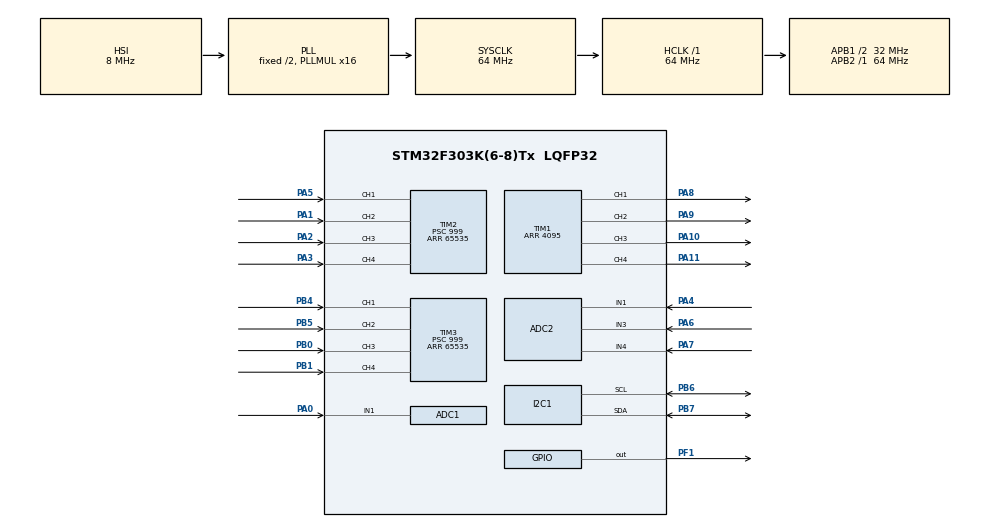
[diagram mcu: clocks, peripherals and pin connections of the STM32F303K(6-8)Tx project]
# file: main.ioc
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ADC1.Channel-122\#ChannelRegularConversion=ADC_CHANNEL_1
ADC1.ClockPrescaler=ADC_CLOCK_ASYNC_DIV1
ADC1.ContinuousConvMode=DISABLE
ADC1.DMAContinuousRequests=DISABLE
ADC1.DataAlign=ADC_DATAALIGN_RIGHT
ADC1.DiscontinuousConvMode=DISABLE
ADC1.EOCSelection=ADC_EOC_SINGLE_CONV
ADC1.EnableAnalogWatchDog1=false
ADC1.EnableAnalogWatchDog2=false
ADC1.EnableAnalogWatchDog3=false
ADC1.EnableInjectedConversion=ENABLE
ADC1.EnableRegularConversion=ENABLE
ADC1.ExternalTrigConv=ADC_SOFTWARE_START
ADC1.ExternalTrigConvEdge=ADC_EXTERNALTRIGCONVEDGE_NONE
ADC1.InjNumberOfConversion=0
ADC1.LowPowerAutoWait=DISABLE
ADC1.NbrOfConversion=1
ADC1.NbrOfConversionFlag=1
ADC1.Offset-122\#ChannelRegularConversion=0
ADC1.OffsetNumber-122\#ChannelRegularConversion=ADC_OFFSET_NONE
ADC1.Overrun=ADC_OVR_DATA_OVERWRITTEN
ADC1.Rank-122\#ChannelRegularConversion=1
ADC1.Resolution=ADC_RESOLUTION_12B
ADC1.SamplingTime-122\#ChannelRegularConversion=ADC_SAMPLETIME_1CYCLE_5
ADC1.ScanConvMode=ADC_SCAN_DISABLE
ADC1.SubFamily=STM32F303x8
ADC1.master=1
ADC2.Channel-84\#ChannelRegularConversion=ADC_CHANNEL_1
ADC2.NbrOfConversionFlag=1
ADC2.Offset-84\#ChannelRegularConversion=0
ADC2.OffsetNumber-84\#ChannelRegularConversion=ADC_OFFSET_NONE
ADC2.Rank-84\#ChannelRegularConversion=1
ADC2.SamplingTime-84\#ChannelRegularConversion=ADC_SAMPLETIME_1CYCLE_5
ADC2.SubFamily=STM32F303x8
Mcu.Family=STM32F3
Mcu.Name=STM32F303K(6-8)Tx
Mcu.Package=LQFP32
NVIC.PriorityGroup=NVIC_PRIORITYGROUP_4
NVIC.TIM1_BRK_TIM15_IRQn=true\:0\:0\:false\:false\:true
NVIC.TIM1_UP_TIM16_IRQn=true\:0\:0\:false\:false\:true
NVIC.TIM2_IRQn=true\:0\:0\:false\:false\:true
NVIC.TIM3_IRQn=true\:0\:0\:false\:false\:true
PA0.Mode=IN1-Single-Ended
PA0.Signal=ADC1_IN1
PA1.GPIO_PuPd=GPIO_PULLDOWN
PA1.GPIO_Speed=GPIO_SPEED_FREQ_HIGH
PA1.Signal=S_TIM2_CH2
PA10.GPIO_PuPd=GPIO_PULLDOWN
PA10.GPIO_Speed=GPIO_SPEED_FREQ_HIGH
PA10.Signal=S_TIM1_CH3
PA11.GPIO_PuPd=GPIO_PULLDOWN
PA11.GPIO_Speed=GPIO_SPEED_FREQ_HIGH
PA11.Signal=S_TIM1_CH4
PA13.GPIO_Label=SWDIO
PA13.Signal=SYS_JTMS-SWDIO
PA14.GPIO_Label=SWCLK
PA14.Signal=SYS_JTCK-SWCLK
PA2.GPIO_PuPd=GPIO_PULLDOWN
PA2.GPIO_Speed=GPIO_SPEED_FREQ_HIGH
PA2.Signal=S_TIM2_CH3
PA3.GPIO_PuPd=GPIO_PULLDOWN
PA3.GPIO_Speed=GPIO_SPEED_FREQ_HIGH
PA3.Signal=S_TIM2_CH4
PA4.Mode=IN1-Single-Ended
PA4.Signal=ADC2_IN1
PA5.GPIO_PuPd=GPIO_PULLDOWN
PA5.GPIO_Speed=GPIO_SPEED_FREQ_HIGH
PA5.Signal=S_TIM2_CH1_ETR
PA6.Mode=IN3-Single-Ended
PA6.Signal=ADC2_IN3
PA7.Mode=IN4-Single-Ended
PA7.Signal=ADC2_IN4
PA8.GPIO_PuPd=GPIO_PULLDOWN
PA8.GPIO_Speed=GPIO_SPEED_FREQ_HIGH
PA8.Signal=S_TIM1_CH1
PA9.GPIO_PuPd=GPIO_PULLDOWN
PA9.GPIO_Speed=GPIO_SPEED_FREQ_HIGH
PA9.Signal=S_TIM1_CH2
PB0.GPIO_PuPd=GPIO_PULLDOWN
PB0.GPIO_Speed=GPIO_SPEED_FREQ_HIGH
PB0.Signal=S_TIM3_CH3
PB1.GPIO_PuPd=GPIO_PULLDOWN
PB1.GPIO_Speed=GPIO_SPEED_FREQ_HIGH
PB1.Signal=S_TIM3_CH4
PB4.GPIO_PuPd=GPIO_PULLDOWN
PB4.GPIO_Speed=GPIO_SPEED_FREQ_HIGH
PB4.Signal=S_TIM3_CH1
PB5.GPIO_PuPd=GPIO_PULLDOWN
PB5.GPIO_Speed=GPIO_SPEED_FREQ_HIGH
PB5.Signal=S_TIM3_CH2
PB6.Mode=I2C
PB6.Signal=I2C1_SCL
PB7.Mode=I2C
PB7.Signal=I2C1_SDA
PF0\ /\ OSC_IN.GPIO_Label=MCO
PF0\ /\ OSC_IN.Signal=RCC_OSC_IN
PF1\ /\ OSC_OUT.GPIO_PuPd=GPIO_PULLDOWN
PF1\ /\ OSC_OUT.GPIO_Speed=GPIO_SPEED_FREQ_HIGH
PF1\ /\ OSC_OUT.Signal=GPIO_Output
ProjectManager.HeapSize=0x200
ProjectManager.StackSize=0x400
ProjectManager.TargetToolchain=MDK-ARM V5
RCC.AHBFreq_Value=64000000
RCC.APB1CLKDivider=RCC_HCLK_DIV2
RCC.APB1Freq_Value=32000000
RCC.APB1TimFreq_Value=64000000
RCC.APB2Freq_Value=64000000
RCC.APB2TimFreq_Value=64000000
RCC.CortexFreq_Value=64000000
RCC.HCLKFreq_Value=64000000
RCC.HSE_VALUE=8000000
RCC.HSI_VALUE=8000000
RCC.PLLMUL=RCC_PLL_MUL16
RCC.SYSCLKFreq_VALUE=64000000
RCC.SYSCLKSourceVirtual=RCC_SYSCLKSOURCE_PLLCLK
RCC.TIM1Selection=RCC_TIM1CLK_PLLCLK
SH.S_TIM1_CH1.0=TIM1_CH1,PWM Generation1 CH1
SH.S_TIM1_CH2.0=TIM1_CH2,PWM Generation2 CH2
SH.S_TIM1_CH3.0=TIM1_CH3,PWM Generation3 CH3
SH.S_TIM1_CH4.0=TIM1_CH4,PWM Generation4 CH4
SH.S_TIM2_CH1_ETR.0=TIM2_CH1,Input_Capture1_from_TI1
SH.S_TIM2_CH2.0=TIM2_CH2,Input_Capture2_from_TI2
SH.S_TIM2_CH3.0=TIM2_CH3,Input_Capture3_from_TI3
SH.S_TIM2_CH4.0=TIM2_CH4,Input_Capture4_from_TI4
SH.S_TIM3_CH1.0=TIM3_CH1,Input_Capture1_from_TI1
SH.S_TIM3_CH2.0=TIM3_CH2,Input_Capture2_from_TI2
SH.S_TIM3_CH3.0=TIM3_CH3,Input_Capture3_from_TI3
SH.S_TIM3_CH4.0=TIM3_CH4,Input_Capture4_from_TI4
TIM1.Channel-PWM\ Generation2\ CH2=TIM_CHANNEL_2
TIM1.Channel-PWM\ Generation3\ CH3=TIM_CHANNEL_3
TIM1.Channel-PWM\ Generation4\ CH4=TIM_CHANNEL_4
TIM1.OCFastMode_PWM-PWM\ Generation1\ CH1=TIM_OCFAST_ENABLE
TIM1.OCFastMode_PWM-PWM\ Generation2\ CH2=TIM_OCFAST_ENABLE
TIM1.OCFastMode_PWM-PWM\ Generation3\ CH3=TIM_OCFAST_ENABLE
TIM1.OCFastMode_PWM-PWM\ Generation4\ CH4=TIM_OCFAST_ENABLE
TIM1.Period=4095
TIM15.Period=19
TIM15.Prescaler=15999
TIM2.Channel-Input_Capture2_from_TI2=TIM_CHANNEL_2
TIM2.Channel-Input_Capture3_from_TI3=TIM_CHANNEL_3
TIM2.Channel-Input_Capture4_from_TI4=TIM_CHANNEL_4
TIM2.ICFilter_CH1=2
TIM2.ICFilter_CH2=2
TIM2.ICFilter_CH3=2
TIM2.ICFilter_CH4=2
TIM2.Period=65535
TIM2.Prescaler=999
TIM3.Channel-Input_Capture2_from_TI2=TIM_CHANNEL_2
TIM3.Channel-Input_Capture3_from_TI3=TIM_CHANNEL_3
TIM3.Channel-Input_Capture4_from_TI4=TIM_CHANNEL_4
TIM3.ICFilter_CH1=2
TIM3.ICFilter_CH2=2
TIM3.ICFilter_CH3=2
TIM3.ICFilter_CH4=2
TIM3.Period=65535
TIM3.Prescaler=999
VP_TIM15_VS_ClockSourceINT.Mode=Internal
VP_TIM1_VS_ClockSourceINT.Mode=Internal
VP_TIM2_VS_ClockSourceINT.Mode=Internal
VP_TIM3_VS_ClockSourceINT.Mode=Internal
board=NUCLEO-F303K8

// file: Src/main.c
/**
  ******************************************************************************
  * File Name          : main.c
  * Description        : Main program body
  ******************************************************************************
  *
  * COPYRIGHT(c) 2017 STMicroelectronics
  *
  * Redistribution and use in source and binary forms, with or without modification,
  * are permitted provided that the following conditions are met:
  *   1. Redistributions of source code must retain the above copyright notice,
  *      this list of conditions and the following disclaimer.
  *   2. Redistributions in binary form must reproduce the above copyright notice,
  *      this list of conditions and the following disclaimer in the documentation
  *      and/or other materials provided with the distribution.
  *   3. Neither the name of STMicroelectronics nor the names of its contributors
  *      may be used to endorse or promote products derived from this software
  *      without specific prior written permission.
  *
  * THIS SOFTWARE IS PROVIDED BY THE COPYRIGHT HOLDERS AND CONTRIBUTORS "AS IS"
  * AND ANY EXPRESS OR IMPLIED WARRANTIES, INCLUDING, BUT NOT LIMITED TO, THE
  * IMPLIED WARRANTIES OF MERCHANTABILITY AND FITNESS FOR A PARTICULAR PURPOSE ARE
  * DISCLAIMED. IN NO EVENT SHALL THE COPYRIGHT HOLDER OR CONTRIBUTORS BE LIABLE
  * FOR ANY DIRECT, INDIRECT, INCIDENTAL, SPECIAL, EXEMPLARY, OR CONSEQUENTIAL
  * DAMAGES (INCLUDING, BUT NOT LIMITED TO, PROCUREMENT OF SUBSTITUTE GOODS OR
  * SERVICES; LOSS OF USE, DATA, OR PROFITS; OR BUSINESS INTERRUPTION) HOWEVER
  * CAUSED AND ON ANY THEORY OF LIABILITY, WHETHER IN CONTRACT, STRICT LIABILITY,
  * OR TORT (INCLUDING NEGLIGENCE OR OTHERWISE) ARISING IN ANY WAY OUT OF THE USE
  * OF THIS SOFTWARE, EVEN IF ADVISED OF THE POSSIBILITY OF SUCH DAMAGE.
  *
  ******************************************************************************
  */
#include "main.h"
#include "stm32f3xx_hal.h"

ADC_HandleTypeDef hadc1;
ADC_HandleTypeDef hadc2;

I2C_HandleTypeDef hi2c1;

TIM_HandleTypeDef htim1;
TIM_HandleTypeDef htim2;
TIM_HandleTypeDef htim3;
TIM_HandleTypeDef htim15;

/* USER CODE BEGIN PV */
/* Private variables ---------------------------------------------------------*/
volatile uint16_t prev_capture_TIM2_CH1 = 0;
volatile uint16_t prev_capture_TIM2_CH2 = 0;
volatile uint16_t prev_capture_TIM2_CH3 = 0;
volatile uint16_t prev_capture_TIM2_CH4 = 0;
volatile uint16_t delta_clk_TIM2_CH1 = 0;
volatile uint16_t delta_clk_TIM2_CH2 = 0;
volatile uint16_t delta_clk_TIM2_CH3 = 0;
volatile uint16_t delta_clk_TIM2_CH4 = 0;

volatile uint16_t prev_capture_TIM3_CH1 = 0;
volatile uint16_t prev_capture_TIM3_CH2 = 0;
volatile uint16_t prev_capture_TIM3_CH3 = 0;
volatile uint16_t prev_capture_TIM3_CH4 = 0;
volatile uint16_t delta_clk_TIM3_CH1 = 0;
volatile uint16_t delta_clk_TIM3_CH2 = 0;
volatile uint16_t delta_clk_TIM3_CH3 = 0;
volatile uint16_t delta_clk_TIM3_CH4 = 0;

volatile int16_t encoder_count_CH1 = 0;
volatile int16_t encoder_count_CH2 = 0;
volatile int16_t encoder_count_CH3 = 0;
volatile int16_t encoder_count_CH4 = 0;

volatile int16_t prev_encoder_count_CH1 = 0;
volatile int16_t prev_encoder_count_CH2 = 0;
volatile int16_t prev_encoder_count_CH3 = 0;
volatile int16_t prev_encoder_count_CH4 = 0;

volatile float RPM_CH1 = 0.0f;
volatile float RPM_CH2 = 0.0f;
volatile float RPM_CH3 = 0.0f;
volatile float RPM_CH4 = 0.0f;

volatile uint8_t timeout_CH1 = 0;
volatile uint8_t timeout_CH2 = 0;
volatile uint8_t timeout_CH3 = 0;
volatile uint8_t timeout_CH4 = 0;

/* USER CODE END PV */

void SystemClock_Config(void);
void Error_Handler(void);
static void MX_GPIO_Init(void);
static void MX_TIM1_Init(void);
static void MX_TIM3_Init(void);
static void MX_TIM2_Init(void);
static void MX_ADC1_Init(void);
static void MX_ADC2_Init(void);
static void MX_I2C1_Init(void);
static void MX_TIM15_Init(void);

void HAL_TIM_MspPostInit(TIM_HandleTypeDef *htim);

/* USER CODE BEGIN PFP */
/* Private function prototypes -----------------------------------------------*/

/* USER CODE END PFP */

int main(void)
{

  /* MCU Configuration----------------------------------------------------------*/

  /* Reset of all peripherals, Initializes the Flash interface and the Systick. */
  HAL_Init();

  /* Configure the system clock */
  SystemClock_Config();

  /* Initialize all configured peripherals */
  MX_GPIO_Init();
  MX_TIM1_Init();
  MX_TIM3_Init();
  MX_TIM2_Init();
  MX_ADC1_Init();
  MX_ADC2_Init();
  MX_I2C1_Init();
  MX_TIM15_Init();

  /* USER CODE BEGIN 2 */

	HAL_TIM_PWM_Start_IT(&htim1, TIM_CHANNEL_1);
	__HAL_TIM_SET_COMPARE(&htim1, TIM_CHANNEL_1, 512);

	HAL_TIM_PWM_Start_IT(&htim1, TIM_CHANNEL_2);
	__HAL_TIM_SET_COMPARE(&htim1, TIM_CHANNEL_2, 1024);

	HAL_TIM_PWM_Start_IT(&htim1, TIM_CHANNEL_3);
	__HAL_TIM_SET_COMPARE(&htim1, TIM_CHANNEL_3, 2000);

	HAL_TIM_PWM_Start_IT(&htim1, TIM_CHANNEL_4);
	__HAL_TIM_SET_COMPARE(&htim1, TIM_CHANNEL_4, 3000);

	HAL_TIM_IC_Start_IT(&htim2, TIM_CHANNEL_1);
	HAL_TIM_IC_Start_IT(&htim2, TIM_CHANNEL_2);
	HAL_TIM_IC_Start_IT(&htim2, TIM_CHANNEL_3);
	HAL_TIM_IC_Start_IT(&htim2, TIM_CHANNEL_4);

	HAL_TIM_IC_Start_IT(&htim3, TIM_CHANNEL_1);
	HAL_TIM_IC_Start_IT(&htim3, TIM_CHANNEL_2);
	HAL_TIM_IC_Start_IT(&htim3, TIM_CHANNEL_3);
	HAL_TIM_IC_Start_IT(&htim3, TIM_CHANNEL_4);

	HAL_TIM_Base_Start_IT(&htim15);

  /* USER CODE END 2 */

  /* Infinite loop */
  while (1)
  {

  /* USER CODE BEGIN 3 */
		//PWM[0] = 1024;
		//HAL_GPIO_TogglePin(GPIOF, GPIO_PIN_1);
		GPIOF->BSRR = GPIO_BSRR_BS_1;
		GPIOF->BSRR = GPIO_BSRR_BR_1;
  }
  /* USER CODE END 3 */

}

/** System Clock Configuration
*/
void SystemClock_Config(void)
{

  RCC_OscInitTypeDef RCC_OscInitStruct;
  RCC_ClkInitTypeDef RCC_ClkInitStruct;
  RCC_PeriphCLKInitTypeDef PeriphClkInit;

    /**Initializes the CPU, AHB and APB busses clocks
    */
  RCC_OscInitStruct.OscillatorType = RCC_OSCILLATORTYPE_HSI;
  RCC_OscInitStruct.HSIState = RCC_HSI_ON;
  RCC_OscInitStruct.HSICalibrationValue = 16;
  RCC_OscInitStruct.PLL.PLLState = RCC_PLL_ON;
  RCC_OscInitStruct.PLL.PLLSource = RCC_PLLSOURCE_HSI;
  RCC_OscInitStruct.PLL.PLLMUL = RCC_PLL_MUL16;
  if (HAL_RCC_OscConfig(&RCC_OscInitStruct) != HAL_OK)
  {
    Error_Handler();
  }

    /**Initializes the CPU, AHB and APB busses clocks
    */
  RCC_ClkInitStruct.ClockType = RCC_CLOCKTYPE_HCLK|RCC_CLOCKTYPE_SYSCLK
                              |RCC_CLOCKTYPE_PCLK1|RCC_CLOCKTYPE_PCLK2;
  RCC_ClkInitStruct.SYSCLKSource = RCC_SYSCLKSOURCE_PLLCLK;
  RCC_ClkInitStruct.AHBCLKDivider = RCC_SYSCLK_DIV1;
  RCC_ClkInitStruct.APB1CLKDivider = RCC_HCLK_DIV2;
  RCC_ClkInitStruct.APB2CLKDivider = RCC_HCLK_DIV1;

  if (HAL_RCC_ClockConfig(&RCC_ClkInitStruct, FLASH_LATENCY_2) != HAL_OK)
  {
    Error_Handler();
  }

  PeriphClkInit.PeriphClockSelection = RCC_PERIPHCLK_I2C1|RCC_PERIPHCLK_TIM1
                              |RCC_PERIPHCLK_ADC12;
  PeriphClkInit.Adc12ClockSelection = RCC_ADC12PLLCLK_DIV1;
  PeriphClkInit.I2c1ClockSelection = RCC_I2C1CLKSOURCE_HSI;
  PeriphClkInit.Tim1ClockSelection = RCC_TIM1CLK_PLLCLK;
  if (HAL_RCCEx_PeriphCLKConfig(&PeriphClkInit) != HAL_OK)
  {
    Error_Handler();
  }

    /**Configure the Systick interrupt time
    */
  HAL_SYSTICK_Config(HAL_RCC_GetHCLKFreq()/1000);

    /**Configure the Systick
    */
  HAL_SYSTICK_CLKSourceConfig(SYSTICK_CLKSOURCE_HCLK);

  /* SysTick_IRQn interrupt configuration */
  HAL_NVIC_SetPriority(SysTick_IRQn, 0, 0);
}

/* ADC1 init function */
static void MX_ADC1_Init(void)
{

  ADC_MultiModeTypeDef multimode;
  ADC_ChannelConfTypeDef sConfig;

    /**Common config
    */
  hadc1.Instance = ADC1;
  hadc1.Init.ClockPrescaler = ADC_CLOCK_ASYNC_DIV1;
  hadc1.Init.Resolution = ADC_RESOLUTION_12B;
  hadc1.Init.ScanConvMode = ADC_SCAN_DISABLE;
  hadc1.Init.ContinuousConvMode = DISABLE;
  hadc1.Init.DiscontinuousConvMode = DISABLE;
  hadc1.Init.ExternalTrigConvEdge = ADC_EXTERNALTRIGCONVEDGE_NONE;
  hadc1.Init.ExternalTrigConv = ADC_SOFTWARE_START;
  hadc1.Init.DataAlign = ADC_DATAALIGN_RIGHT;
  hadc1.Init.NbrOfConversion = 1;
  hadc1.Init.DMAContinuousRequests = DISABLE;
  hadc1.Init.EOCSelection = ADC_EOC_SINGLE_CONV;
  hadc1.Init.LowPowerAutoWait = DISABLE;
  hadc1.Init.Overrun = ADC_OVR_DATA_OVERWRITTEN;
  if (HAL_ADC_Init(&hadc1) != HAL_OK)
  {
    Error_Handler();
  }

    /**Configure the ADC multi-mode
    */
  multimode.Mode = ADC_MODE_INDEPENDENT;
  if (HAL_ADCEx_MultiModeConfigChannel(&hadc1, &multimode) != HAL_OK)
  {
    Error_Handler();
  }

    /**Configure Regular Channel
    */
  sConfig.Channel = ADC_CHANNEL_1;
  sConfig.Rank = 1;
  sConfig.SingleDiff = ADC_SINGLE_ENDED;
  sConfig.SamplingTime = ADC_SAMPLETIME_1CYCLE_5;
  sConfig.OffsetNumber = ADC_OFFSET_NONE;
  sConfig.Offset = 0;
  if (HAL_ADC_ConfigChannel(&hadc1, &sConfig) != HAL_OK)
  {
    Error_Handler();
  }

}

/* ADC2 init function */
static void MX_ADC2_Init(void)
{

  ADC_ChannelConfTypeDef sConfig;

    /**Common config
    */
  hadc2.Instance = ADC2;
  hadc2.Init.ClockPrescaler = ADC_CLOCK_ASYNC_DIV1;
  hadc2.Init.Resolution = ADC_RESOLUTION_12B;
  hadc2.Init.ScanConvMode = ADC_SCAN_DISABLE;
  hadc2.Init.ContinuousConvMode = DISABLE;
  hadc2.Init.DiscontinuousConvMode = DISABLE;
  hadc2.Init.DataAlign = ADC_DATAALIGN_RIGHT;
  hadc2.Init.NbrOfConversion = 1;
  hadc2.Init.DMAContinuousRequests = DISABLE;
  hadc2.Init.EOCSelection = ADC_EOC_SINGLE_CONV;
  hadc2.Init.LowPowerAutoWait = DISABLE;
  hadc2.Init.Overrun = ADC_OVR_DATA_OVERWRITTEN;
  if (HAL_ADC_Init(&hadc2) != HAL_OK)
  {
    Error_Handler();
  }

    /**Configure Regular Channel
    */
  sConfig.Channel = ADC_CHANNEL_1;
  sConfig.Rank = 1;
  sConfig.SingleDiff = ADC_SINGLE_ENDED;
  sConfig.SamplingTime = ADC_SAMPLETIME_1CYCLE_5;
  sConfig.OffsetNumber = ADC_OFFSET_NONE;
  sConfig.Offset = 0;
  if (HAL_ADC_ConfigChannel(&hadc2, &sConfig) != HAL_OK)
  {
    Error_Handler();
  }

}

/* I2C1 init function */
static void MX_I2C1_Init(void)
{

  hi2c1.Instance = I2C1;
  hi2c1.Init.Timing = 0x2000090E;
  hi2c1.Init.OwnAddress1 = 0;
  hi2c1.Init.AddressingMode = I2C_ADDRESSINGMODE_7BIT;
  hi2c1.Init.DualAddressMode = I2C_DUALADDRESS_DISABLE;
  hi2c1.Init.OwnAddress2 = 0;
  hi2c1.Init.OwnAddress2Masks = I2C_OA2_NOMASK;
  hi2c1.Init.GeneralCallMode = I2C_GENERALCALL_DISABLE;
  hi2c1.Init.NoStretchMode = I2C_NOSTRETCH_DISABLE;
  if (HAL_I2C_Init(&hi2c1) != HAL_OK)
  {
    Error_Handler();
  }

    /**Configure Analogue filter
    */
  if (HAL_I2CEx_ConfigAnalogFilter(&hi2c1, I2C_ANALOGFILTER_ENABLE) != HAL_OK)
  {
    Error_Handler();
  }

}

/* TIM1 init function */
static void MX_TIM1_Init(void)
{

  TIM_ClockConfigTypeDef sClockSourceConfig;
  TIM_MasterConfigTypeDef sMasterConfig;
  TIM_OC_InitTypeDef sConfigOC;
  TIM_BreakDeadTimeConfigTypeDef sBreakDeadTimeConfig;

  htim1.Instance = TIM1;
  htim1.Init.Prescaler = 0;
  htim1.Init.CounterMode = TIM_COUNTERMODE_UP;
  htim1.Init.Period = 4095;
  htim1.Init.ClockDivision = TIM_CLOCKDIVISION_DIV1;
  htim1.Init.RepetitionCounter = 0;
  htim1.Init.AutoReloadPreload = TIM_AUTORELOAD_PRELOAD_DISABLE;
  if (HAL_TIM_Base_Init(&htim1) != HAL_OK)
  {
    Error_Handler();
  }

  sClockSourceConfig.ClockSource = TIM_CLOCKSOURCE_INTERNAL;
  if (HAL_TIM_ConfigClockSource(&htim1, &sClockSourceConfig) != HAL_OK)
  {
    Error_Handler();
  }

  if (HAL_TIM_PWM_Init(&htim1) != HAL_OK)
  {
    Error_Handler();
  }

  sMasterConfig.MasterOutputTrigger = TIM_TRGO_RESET;
  sMasterConfig.MasterOutputTrigger2 = TIM_TRGO2_RESET;
  sMasterConfig.MasterSlaveMode = TIM_MASTERSLAVEMODE_DISABLE;
  if (HAL_TIMEx_MasterConfigSynchronization(&htim1, &sMasterConfig) != HAL_OK)
  {
    Error_Handler();
  }

  sConfigOC.OCMode = TIM_OCMODE_PWM1;
  sConfigOC.Pulse = 0;
  sConfigOC.OCPolarity = TIM_OCPOLARITY_HIGH;
  sConfigOC.OCNPolarity = TIM_OCNPOLARITY_HIGH;
  sConfigOC.OCFastMode = TIM_OCFAST_ENABLE;
  sConfigOC.OCIdleState = TIM_OCIDLESTATE_RESET;
  sConfigOC.OCNIdleState = TIM_OCNIDLESTATE_RESET;
  if (HAL_TIM_PWM_ConfigChannel(&htim1, &sConfigOC, TIM_CHANNEL_1) != HAL_OK)
  {
    Error_Handler();
  }

  if (HAL_TIM_PWM_ConfigChannel(&htim1, &sConfigOC, TIM_CHANNEL_2) != HAL_OK)
  {
    Error_Handler();
  }

  if (HAL_TIM_PWM_ConfigChannel(&htim1, &sConfigOC, TIM_CHANNEL_3) != HAL_OK)
  {
    Error_Handler();
  }

  if (HAL_TIM_PWM_ConfigChannel(&htim1, &sConfigOC, TIM_CHANNEL_4) != HAL_OK)
  {
    Error_Handler();
  }

  sBreakDeadTimeConfig.OffStateRunMode = TIM_OSSR_DISABLE;
  sBreakDeadTimeConfig.OffStateIDLEMode = TIM_OSSI_DISABLE;
  sBreakDeadTimeConfig.LockLevel = TIM_LOCKLEVEL_OFF;
  sBreakDeadTimeConfig.DeadTime = 0;
  sBreakDeadTimeConfig.BreakState = TIM_BREAK_DISABLE;
  sBreakDeadTimeConfig.BreakPolarity = TIM_BREAKPOLARITY_HIGH;
  sBreakDeadTimeConfig.BreakFilter = 0;
  sBreakDeadTimeConfig.Break2State = TIM_BREAK2_DISABLE;
  sBreakDeadTimeConfig.Break2Polarity = TIM_BREAK2POLARITY_HIGH;
  sBreakDeadTimeConfig.Break2Filter = 0;
  sBreakDeadTimeConfig.AutomaticOutput = TIM_AUTOMATICOUTPUT_DISABLE;
  if (HAL_TIMEx_ConfigBreakDeadTime(&htim1, &sBreakDeadTimeConfig) != HAL_OK)
  {
    Error_Handler();
  }

  HAL_TIM_MspPostInit(&htim1);

}

/* TIM2 init function */
static void MX_TIM2_Init(void)
{

  TIM_ClockConfigTypeDef sClockSourceConfig;
  TIM_MasterConfigTypeDef sMasterConfig;
  TIM_IC_InitTypeDef sConfigIC;

  htim2.Instance = TIM2;
  htim2.Init.Prescaler = 999;
  htim2.Init.CounterMode = TIM_COUNTERMODE_UP;
  htim2.Init.Period = 65535;
  htim2.Init.ClockDivision = TIM_CLOCKDIVISION_DIV1;
  htim2.Init.AutoReloadPreload = TIM_AUTORELOAD_PRELOAD_DISABLE;
  if (HAL_TIM_Base_Init(&htim2) != HAL_OK)
  {
    Error_Handler();
  }

  sClockSourceConfig.ClockSource = TIM_CLOCKSOURCE_INTERNAL;
  if (HAL_TIM_ConfigClockSource(&htim2, &sClockSourceConfig) != HAL_OK)
  {
    Error_Handler();
  }

  if (HAL_TIM_IC_Init(&htim2) != HAL_OK)
  {
    Error_Handler();
  }

  sMasterConfig.MasterOutputTrigger = TIM_TRGO_RESET;
  sMasterConfig.MasterSlaveMode = TIM_MASTERSLAVEMODE_DISABLE;
  if (HAL_TIMEx_MasterConfigSynchronization(&htim2, &sMasterConfig) != HAL_OK)
  {
    Error_Handler();
  }

  sConfigIC.ICPolarity = TIM_INPUTCHANNELPOLARITY_RISING;
  sConfigIC.ICSelection = TIM_ICSELECTION_DIRECTTI;
  sConfigIC.ICPrescaler = TIM_ICPSC_DIV1;
  sConfigIC.ICFilter = 2;
  if (HAL_TIM_IC_ConfigChannel(&htim2, &sConfigIC, TIM_CHANNEL_1) != HAL_OK)
  {
    Error_Handler();
  }

  if (HAL_TIM_IC_ConfigChannel(&htim2, &sConfigIC, TIM_CHANNEL_2) != HAL_OK)
  {
    Error_Handler();
  }

  if (HAL_TIM_IC_ConfigChannel(&htim2, &sConfigIC, TIM_CHANNEL_3) != HAL_OK)
  {
    Error_Handler();
  }

  if (HAL_TIM_IC_ConfigChannel(&htim2, &sConfigIC, TIM_CHANNEL_4) != HAL_OK)
  {
    Error_Handler();
  }

}

/* TIM3 init function */
static void MX_TIM3_Init(void)
{

  TIM_ClockConfigTypeDef sClockSourceConfig;
  TIM_MasterConfigTypeDef sMasterConfig;
  TIM_IC_InitTypeDef sConfigIC;

  htim3.Instance = TIM3;
  htim3.Init.Prescaler = 999;
  htim3.Init.CounterMode = TIM_COUNTERMODE_UP;
  htim3.Init.Period = 65535;
  htim3.Init.ClockDivision = TIM_CLOCKDIVISION_DIV1;
  htim3.Init.AutoReloadPreload = TIM_AUTORELOAD_PRELOAD_DISABLE;
  if (HAL_TIM_Base_Init(&htim3) != HAL_OK)
  {
    Error_Handler();
  }

  sClockSourceConfig.ClockSource = TIM_CLOCKSOURCE_INTERNAL;
  if (HAL_TIM_ConfigClockSource(&htim3, &sClockSourceConfig) != HAL_OK)
  {
    Error_Handler();
  }

  if (HAL_TIM_IC_Init(&htim3) != HAL_OK)
  {
    Error_Handler();
  }

  sMasterConfig.MasterOutputTrigger = TIM_TRGO_RESET;
  sMasterConfig.MasterSlaveMode = TIM_MASTERSLAVEMODE_DISABLE;
  if (HAL_TIMEx_MasterConfigSynchronization(&htim3, &sMasterConfig) != HAL_OK)
  {
    Error_Handler();
  }

  sConfigIC.ICPolarity = TIM_INPUTCHANNELPOLARITY_RISING;
  sConfigIC.ICSelection = TIM_ICSELECTION_DIRECTTI;
  sConfigIC.ICPrescaler = TIM_ICPSC_DIV1;
  sConfigIC.ICFilter = 2;
  if (HAL_TIM_IC_ConfigChannel(&htim3, &sConfigIC, TIM_CHANNEL_1) != HAL_OK)
  {
    Error_Handler();
  }

  if (HAL_TIM_IC_ConfigChannel(&htim3, &sConfigIC, TIM_CHANNEL_2) != HAL_OK)
  {
    Error_Handler();
  }

  if (HAL_TIM_IC_ConfigChannel(&htim3, &sConfigIC, TIM_CHANNEL_3) != HAL_OK)
  {
    Error_Handler();
  }

  if (HAL_TIM_IC_ConfigChannel(&htim3, &sConfigIC, TIM_CHANNEL_4) != HAL_OK)
  {
    Error_Handler();
  }

}

/* TIM15 init function */
static void MX_TIM15_Init(void)
{

  TIM_ClockConfigTypeDef sClockSourceConfig;
  TIM_MasterConfigTypeDef sMasterConfig;

  htim15.Instance = TIM15;
  htim15.Init.Prescaler = 15999;
  htim15.Init.CounterMode = TIM_COUNTERMODE_UP;
  htim15.Init.Period = 19;
  htim15.Init.ClockDivision = TIM_CLOCKDIVISION_DIV1;
  htim15.Init.RepetitionCounter = 0;
  htim15.Init.AutoReloadPreload = TIM_AUTORELOAD_PRELOAD_DISABLE;
  if (HAL_TIM_Base_Init(&htim15) != HAL_OK)
  {
    Error_Handler();
  }

  sClockSourceConfig.ClockSource = TIM_CLOCKSOURCE_INTERNAL;
  if (HAL_TIM_ConfigClockSource(&htim15, &sClockSourceConfig) != HAL_OK)
  {
    Error_Handler();
  }

  sMasterConfig.MasterOutputTrigger = TIM_TRGO_RESET;
  sMasterConfig.MasterSlaveMode = TIM_MASTERSLAVEMODE_DISABLE;
  if (HAL_TIMEx_MasterConfigSynchronization(&htim15, &sMasterConfig) != HAL_OK)
  {
    Error_Handler();
  }

}

/** Configure pins as
        * Analog
        * Input
        * Output
        * EVENT_OUT
        * EXTI
*/
static void MX_GPIO_Init(void)
{

  GPIO_InitTypeDef GPIO_InitStruct;

  /* GPIO Ports Clock Enable */
  __HAL_RCC_GPIOF_CLK_ENABLE();
  __HAL_RCC_GPIOA_CLK_ENABLE();
  __HAL_RCC_GPIOB_CLK_ENABLE();

  /*Configure GPIO pin Output Level */
  HAL_GPIO_WritePin(GPIOF, GPIO_PIN_1, GPIO_PIN_RESET);

  /*Configure GPIO pin : PF1 */
  GPIO_InitStruct.Pin = GPIO_PIN_1;
  GPIO_InitStruct.Mode = GPIO_MODE_OUTPUT_PP;
  GPIO_InitStruct.Pull = GPIO_NOPULL;
  GPIO_InitStruct.Speed = GPIO_SPEED_FREQ_LOW;
  HAL_GPIO_Init(GPIOF, &GPIO_InitStruct);

}

/* USER CODE BEGIN 4 */
void HAL_TIM_IC_CaptureCallback(TIM_HandleTypeDef *htim){
	if(htim->Instance == TIM2){
		//Timer 2 - Channel 1
		if (htim->Channel == HAL_TIM_ACTIVE_CHANNEL_1){
			encoder_count_CH1++;

			uint16_t input_capture_TIM2_CH1 = HAL_TIM_ReadCapturedValue(&htim2, TIM_CHANNEL_1);	//read TIM2 channel 1 capture value
			delta_clk_TIM2_CH1 = input_capture_TIM2_CH1 - prev_capture_TIM2_CH1;
			prev_capture_TIM2_CH1 = input_capture_TIM2_CH1;
		}

		//Timer 2 - Channel 2
		else if (htim->Channel == HAL_TIM_ACTIVE_CHANNEL_2){
			encoder_count_CH2++;

			uint16_t input_capture_TIM2_CH2 = HAL_TIM_ReadCapturedValue(&htim2, TIM_CHANNEL_2);	//read TIM2 channel 2 capture value
			delta_clk_TIM2_CH2 = input_capture_TIM2_CH2 - prev_capture_TIM2_CH2;
			prev_capture_TIM2_CH2 = input_capture_TIM2_CH2;
		}

		//Timer 2 - Channel 3
		else if(htim->Channel == HAL_TIM_ACTIVE_CHANNEL_3){
			encoder_count_CH3++;

			uint16_t input_capture_TIM2_CH3 = HAL_TIM_ReadCapturedValue(&htim2, TIM_CHANNEL_3);	//read TIM2 channel 3 capture value
			delta_clk_TIM2_CH3 = input_capture_TIM2_CH3 - prev_capture_TIM2_CH3;
			prev_capture_TIM2_CH3 = input_capture_TIM2_CH3;
		}

		//Timer 2 - Channel 4
		else if(htim->Channel == HAL_TIM_ACTIVE_CHANNEL_4){
			encoder_count_CH4++;

			uint16_t input_capture_TIM2_CH4 = HAL_TIM_ReadCapturedValue(&htim2, TIM_CHANNEL_4);	//read TIM2 channel 4 capture value
			delta_clk_TIM2_CH4 = input_capture_TIM2_CH4 - prev_capture_TIM2_CH4;
			prev_capture_TIM2_CH4 = input_capture_TIM2_CH4;
		}
	}

	else if(htim->Instance == TIM3){
		//Timer 3 - Channel 1
		if(htim->Channel == HAL_TIM_ACTIVE_CHANNEL_1){
			encoder_count_CH1--;

			uint16_t input_capture_TIM3_CH1 = HAL_TIM_ReadCapturedValue(&htim3, TIM_CHANNEL_1);	//read TIM3 channel 1 capture value
			delta_clk_TIM3_CH1 = input_capture_TIM3_CH1 - prev_capture_TIM3_CH1;
			prev_capture_TIM3_CH1 = input_capture_TIM3_CH1;
		}

		//Timer 3 - Channel 2
		else if(htim->Channel == HAL_TIM_ACTIVE_CHANNEL_2){
			encoder_count_CH2--;

			uint16_t input_capture_TIM3_CH2 = HAL_TIM_ReadCapturedValue(&htim3, TIM_CHANNEL_2);	//read TIM3 channel 2 capture value
			delta_clk_TIM3_CH2 = input_capture_TIM3_CH2 - prev_capture_TIM3_CH2;
			prev_capture_TIM3_CH2 = input_capture_TIM3_CH2;
		}

		//Timer 3 - Channel 3
		else if(htim->Channel == HAL_TIM_ACTIVE_CHANNEL_3){
			encoder_count_CH3--;

			uint16_t input_capture_TIM3_CH3 = HAL_TIM_ReadCapturedValue(&htim3, TIM_CHANNEL_3);	//read TIM3 channel 3 capture value
			delta_clk_TIM3_CH3 = input_capture_TIM3_CH3 - prev_capture_TIM3_CH3;
			prev_capture_TIM3_CH3 = input_capture_TIM3_CH3;
		}

		//Timer 3 - Channel 4
		else if(htim->Channel == HAL_TIM_ACTIVE_CHANNEL_4){
			encoder_count_CH4--;

			uint16_t input_capture_TIM3_CH4 = HAL_TIM_ReadCapturedValue(&htim3, TIM_CHANNEL_4);	//read TIM3 channel 3 capture value
			delta_clk_TIM3_CH4 = input_capture_TIM3_CH4 - prev_capture_TIM3_CH4;
			prev_capture_TIM3_CH4 = input_capture_TIM3_CH4;
		}
	}
}

void HAL_TIM_PeriodElapsedCallback(TIM_HandleTypeDef *htim)
{
	if(htim->Instance == TIM15)
	{
		//---------------------------------
		//	Channel 1 RPM
		//---------------------------------

		//Timeout for CH1
		//Checks Encoder Count
		//if there is not change in encoder count in a 1 sec interval, sets RPM to zero
		//timeout = 1/(64Mhz / 16000 Prescaler / 20 Counter Period)
		//timeout = 0.005sec (200Hz)
		int16_t delta_encoder_CH1 = encoder_count_CH1 - prev_encoder_count_CH1;
		if(delta_encoder_CH1 == 0){
			timeout_CH1++;
			if(timeout_CH1 == 200){
				delta_clk_TIM2_CH1 = 0;
				delta_clk_TIM3_CH1 = 0;
				timeout_CH1 = 0;
			}
		}
		else
			timeout_CH1 = 0;
		prev_encoder_count_CH1 = encoder_count_CH1;

		//Max velocity for Delta Time
		//Count Limit(timer count) = 64Mhz / 1000Prescale / 200Hz (Velocity calculation loop)
		//320 = 64Mhz / 1000 / 200Hz
		//Timer 2 - Channel 1
		if(delta_clk_TIM2_CH1 >= 320){
			//RPM = 60Sec / ( 64Enc * Delta_time)
			//Delta_time(seconds) = delta_count / (64Mhz / 1000Prescale)
			RPM_CH1 = 60000.0f/(float)delta_clk_TIM2_CH1;
		}
		//Timer 3 - Channel 1
		else if(delta_clk_TIM3_CH1 >= 320){
			//RPM = 60Sec / ( 64Enc * Delta_time)
			//Delta_time(seconds) = delta_count / (64Mhz / 1000Prescale)
			RPM_CH1 = -60000.0f/(float)delta_clk_TIM3_CH1;
		}
		else if((delta_clk_TIM2_CH1 < 320) || (delta_clk_TIM3_CH1 < 320))
			RPM_CH1 = 187.5f*((float)delta_encoder_CH1);

		//---------------------------------
		//	Channel 2 RPM
		//---------------------------------

		//Timeout for CH2
		//Checks Encoder Count
		//if there is not change in encoder count in a 1 sec interval, sets RPM to zero
		//timeout = 1/(64Mhz / 16000 Prescaler / 20 Counter Period)
		//timeout = 0.005sec (200Hz)
		int16_t delta_encoder_CH2 = encoder_count_CH2 - prev_encoder_count_CH2;
		if(delta_encoder_CH2 == 0){
			timeout_CH2++;
			if(timeout_CH2 == 200){
				delta_clk_TIM2_CH2 = 0;
				delta_clk_TIM3_CH2 = 0;
				timeout_CH2 = 0;
			}
		}
		else
			timeout_CH2 = 0;
		prev_encoder_count_CH2 = encoder_count_CH2;

		//Max velocity for Delta Time
		//Count Limit(timer count) = 64Mhz / 1000Prescale / 200Hz (Velocity calculation loop)
		//320 = 64Mhz / 1000 / 200Hz
		//Timer 2 - Channel 2
		if(delta_clk_TIM2_CH2 >= 320){
			//RPM = 60Sec / ( 64Enc * Delta_time)
			//Delta_time(seconds) = delta_count / (64Mhz / 1000Prescale)
			RPM_CH2 = 60000.0f/(float)delta_clk_TIM2_CH2;
		}
		//Timer 3 - Channes 3
		else if(delta_clk_TIM3_CH2 >= 320){
			//RPM = 60Sec / ( 64Enc * Delta_time)
			//Delta_time(seconds) = delta_count / (64Mhz / 1000Prescale)
			RPM_CH2 = -60000.0f/(float)delta_clk_TIM3_CH2;
		}
		else if((delta_clk_TIM2_CH2 < 320) || (delta_clk_TIM3_CH2 < 320))
			RPM_CH2 = 187.5f*((float)delta_encoder_CH2);

		//---------------------------------
		//	Channel 3 RPM
		//---------------------------------

		//Timeout for CH3
		//Checks Encoder Count
		//if there is not change in encoder count in a 1 sec interval, sets RPM to zero
		//timeout = 1/(64Mhz / 16000 Prescaler / 20 Counter Period)
		//timeout = 0.005sec (200Hz)
		int16_t delta_encoder_CH3 = encoder_count_CH3 - prev_encoder_count_CH3;
		if(delta_encoder_CH3 == 0){
			timeout_CH3++;
			if(timeout_CH3 == 200){
				delta_clk_TIM2_CH3 = 0;
				delta_clk_TIM3_CH3 = 0;
				timeout_CH3 = 0;
			}
		}
		else
			timeout_CH3 = 0;
		prev_encoder_count_CH3 = encoder_count_CH3;

		//Max velocity for Delta Time
		//Count Limit(timer count) = 64Mhz / 1000Prescale / 200Hz (Velocity calculation loop)
		//320 = 64Mhz / 1000 / 200Hz
		//Timer 2 - Channel 3
		if(delta_clk_TIM2_CH3 >= 320){
			//RPM = 60Sec / ( 64Enc * Delta_time)
			//Delta_time(seconds) = delta_count / (64Mhz / 1000Prescale)
			RPM_CH3 = 60000.0f/(float)delta_clk_TIM2_CH3;
		}
		//Timer 3 - Channel 3
		else if(delta_clk_TIM3_CH3 >= 320){
			//RPM = 60Sec / ( 64Enc * Delta_time)
			//Delta_time(seconds) = delta_count / (64Mhz / 1000Prescale)
			RPM_CH3 = -60000.0f/(float)delta_clk_TIM3_CH3;
		}
		else if((delta_clk_TIM2_CH3 < 320) || (delta_clk_TIM3_CH3 < 320))
			RPM_CH3 = 187.5f*((float)delta_encoder_CH3);

		//---------------------------------
		//	Channel 4 RPM
		//---------------------------------

		//Timeout for CH4
		//Checks Encoder Count
		//if there is not change in encoder count in a 1 sec interval, sets RPM to zero
		//timeout = 1/(64Mhz / 16000 Prescaler / 20 Counter Period)
		//timeout = 0.005sec (200Hz)
		int16_t delta_encoder_CH4 = encoder_count_CH4 - prev_encoder_count_CH4;
		if(delta_encoder_CH4 == 0){
			timeout_CH4++;
			if(timeout_CH4 == 200){
				delta_clk_TIM2_CH4 = 0;
				delta_clk_TIM3_CH4 = 0;
				timeout_CH4 = 0;
			}
		}
		else
			timeout_CH4 = 0;
		prev_encoder_count_CH4 = encoder_count_CH4;

		//Max velocity for Delta Time
		//Count Limit(timer count) = 64Mhz / 1000Prescale / 200Hz (Velocity calculation loop)
		//320 = 64Mhz / 1000 / 200Hz
		if(delta_clk_TIM2_CH4 >= 320){
			//RPM = 60Sec / ( 64Enc * Delta_time)
			//Delta_time(seconds) = delta_count / (64Mhz / 1000Prescale)
			RPM_CH4 = 60000.0f/(float)delta_clk_TIM2_CH4;
		}
		else if(delta_clk_TIM3_CH4 >= 320){
			//RPM = 60Sec / ( 64Enc * Delta_time)
			//Delta_time(seconds) = delta_count / (64Mhz / 1000Prescale)
			RPM_CH4 = -60000.0f/(float)delta_clk_TIM3_CH4;
		}
		else if((delta_clk_TIM2_CH4 < 320) || (delta_clk_TIM3_CH4 < 320))
			RPM_CH4 = 187.5f*((float)delta_encoder_CH4);
	}
}

/* USER CODE END 4 */

void Error_Handler(void)
{
  while(1)
  {
  }
}

/************************ (C) COPYRIGHT STMicroelectronics *****END OF FILE****/
